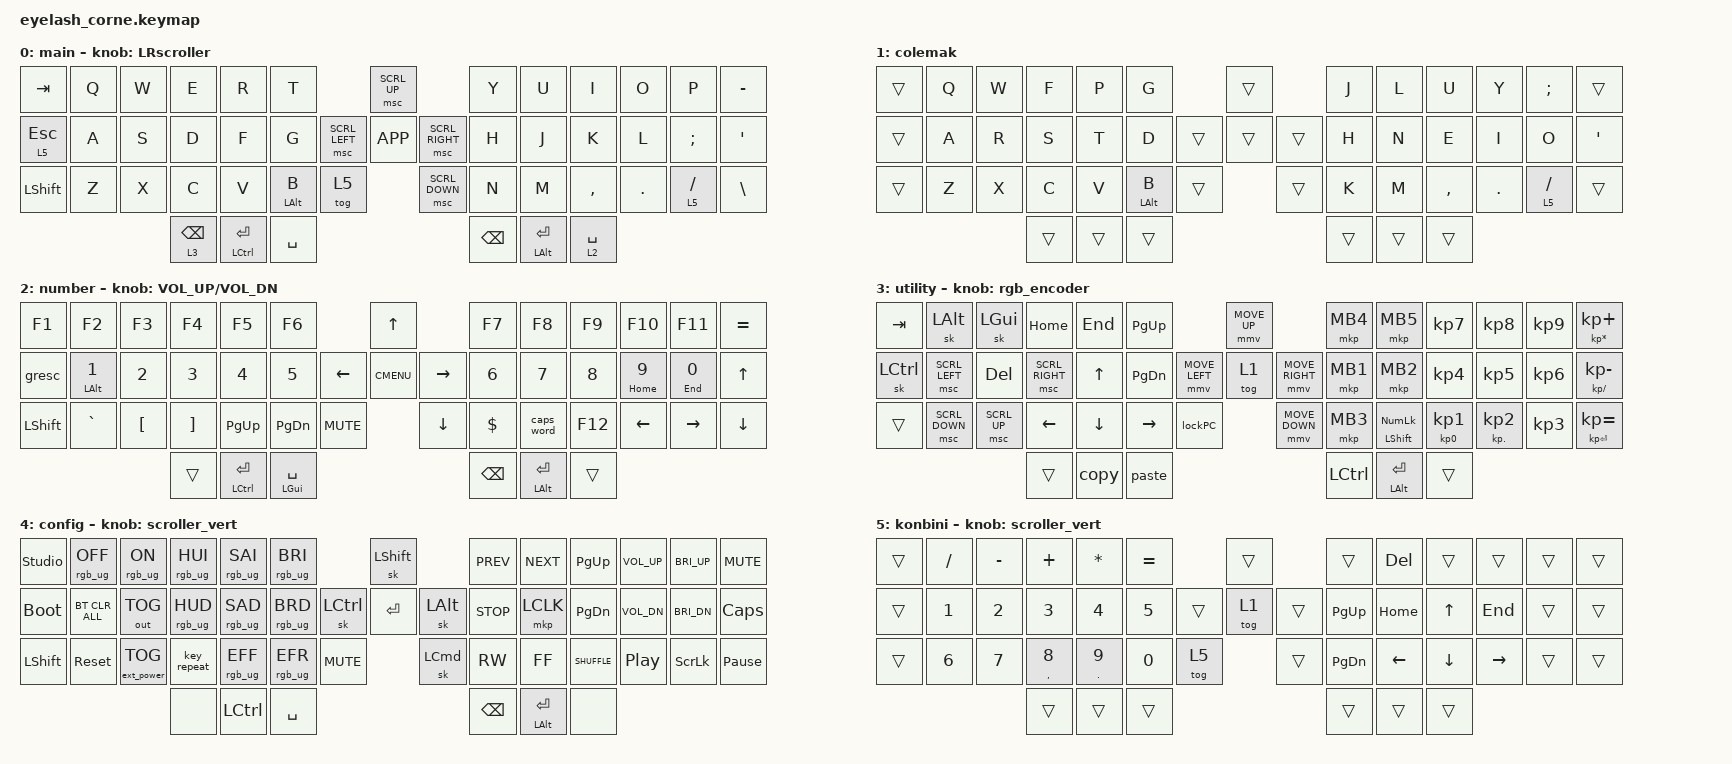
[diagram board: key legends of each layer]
#define ZMK_POINTING_DEFAULT_MOVE_VAL 600  // default: 600
#define ZMK_POINTING_DEFAULT_SCRL_VAL 20  // higher = shorter delay before the first scroll tick fires (see &msc below)

#include <input/processors.dtsi>
#include <zephyr/dt-bindings/input/input-event-codes.h>
#include <behaviors.dtsi>
#include <dt-bindings/zmk/bt.h>
#include <dt-bindings/zmk/ext_power.h>
#include <dt-bindings/zmk/keys.h>
#include <dt-bindings/zmk/outputs.h>
#include <dt-bindings/zmk/pointing.h>
#include <dt-bindings/zmk/rgb.h>

// Per-layer underglow colors: edit config/layer_rgb.dtsi (or generate it
// with rgb-emulator/index.html).

#include "layer_rgb.dtsi"

// Layer indices. Keep these in the same order as the layers in the keymap
// node below (and as the layer numbers in config/layer_rgb.dtsi).

#define MAIN    0
#define COLEMAK 1
#define NUM     2
#define UTIL    3
#define CONFIG  4
#define KONBINI 5

&mmv_input_listener { input-processors = <&zip_xy_scaler 2 1>; };

// split (not the combined zip_scroll_scaler) so horizontal speed is tunable
// independent of vertical. This is the speed dial for scroller/scroller_vert:
// each detent fires ~4 stacked &msc reports (tap-ms=45 vs trigger-period-ms=10,
// see scroller below), so net distance per tick is roughly
// (MOVE_X magnitude * reports-that-survived) / div -- tune div here to change
// feel, not tap-ms/trigger-period-ms/MOVE_X, or dropped ticks come back.
// Higher div = shorter distance per tick.

&msc_input_listener {
    input-processors = <&zip_hscroll_scaler 1 4>, <&zip_vscroll_scaler 1 1>;
};

&msc {
    acceleration-exponent = <0>;      // 0 = constant speed, no ramp-up lag
    time-to-max-speed-ms = <0>;       // unused while acceleration-exponent is 0
    delay-ms = <0>;                   // 0
    trigger-period-ms = <10>;         // default: 16 -- 4x tick rate to slow scroll reports
    // first report only fires once SCRL_VAL's per-tick remainder accumulates past 1 (~1000/SCRL_VAL ms)
};

&mmv {
    time-to-max-speed-ms = <700>;
    acceleration-exponent = <1>;
    trigger-period-ms = <16>;
};

&soft_off { hold-time-ms = <2000>; };

/ {
    zip_hscroll_scaler: zip_hscroll_scaler {
        compatible = "zmk,input-processor-scaler";
        #input-processor-cells = <2>;
        type = <INPUT_EV_REL>;
        codes = <INPUT_REL_HWHEEL>;
        track-remainders;
    };

    zip_vscroll_scaler: zip_vscroll_scaler {
        compatible = "zmk,input-processor-scaler";
        #input-processor-cells = <2>;
        type = <INPUT_EV_REL>;
        codes = <INPUT_REL_WHEEL>;
        track-remainders;
    };

    behaviors {
        /omit-if-no-ref/

        // generic reusable sensor-rotate behaviors, modeled on inc_dec_kp below:
        // the underlying behavior + keycode/param are supplied per sensor-bindings
        // call site instead of being baked into a dedicated node per layer.

        inc_dec_msc: inc_dec_msc {
            compatible = "zmk,behavior-sensor-rotate-var";
            #sensor-binding-cells = <2>;
            bindings = <&msc>, <&msc>;

            // must exceed &msc's trigger-period-ms (10) or the release cancels
            // the pending scroll tick before it ever fires -- see &msc above

            tap-ms = <150>;
        };

        // horizontal scroll for the MAIN layer's encoder: clockwise = right,
        // counter-clockwise = left. Each detent is a synthetic tap of &msc
        // (press, wait tap-ms, release); &msc only reports movement on its own
        // trigger-period-ms timer (10ms), and the release races that timer via
        // k_work_cancel_delayable on the SAME shared system workqueue that also
        // runs BLE, the OLED SPI flush, and RGB underglow writes. tap-ms=20 only
        // fit ~2 ticks in that window -- enough on an idle queue, but any
        // contention from those other work items could delay the first tick past
        // the release and silently drop the whole detent (intermittent misses).
        // tap-ms=45 gives ~4-5 ticks of slack so a single tick surviving jitter
        // is no longer a coin flip. Magnitude (200) already clears the
        // 1000/trigger-period-ms=100 threshold needed for a single tick to
        // register a whole HID unit -- 200 mirrors the value caksoylar/zmk-config
        // uses for the same reason (SCRL_VAL=200 against an 8ms trigger-period).

        LRscroller: scroll_encoder {
            compatible = "zmk,behavior-sensor-rotate";
            #sensor-binding-cells = <0>;
            bindings = <&msc MOVE_X(100)>, <&msc MOVE_X(-100)>;

            tap-ms = <45>;
        };

        // vertical counterpart of scroller above, for the CONFIG layer's encoder:
        // clockwise = up, counter-clockwise = down (positive Y mirrors SCRL_UP's
        // sign in dt-bindings/zmk/pointing.h, same as scroller mirrors SCRL_RIGHT)

        scroller_vert: scroll_encoder_vert {
            compatible = "zmk,behavior-sensor-rotate";
            #sensor-binding-cells = <0>;
            bindings = <&msc MOVE_Y(200)>, <&msc MOVE_Y(-200)>;

            tap-ms = <45>;
        };

        // rgb_ug takes a (command, value) pair per invocation, so unlike &kp/&msc
        // it can't be driven through the -var pattern above (which only overrides
        // a single cell per direction) -- hardcode the full 2-cell binding instead.

        rgb_encoder: rgb_encoder {
            compatible = "zmk,behavior-sensor-rotate";
            #sensor-binding-cells = <0>;
            bindings = <&rgb_ug RGB_BRI>, <&rgb_ug RGB_BRD>;
        };
    };

    combos {
        compatible = "zmk,combos";

        softoff {
            bindings = <&soft_off>;
            key-positions = <1 15 29>;
        };

        gotolayer4 {
            bindings = <&tog 5>;
            key-positions = <42 43>;
        };
    };

    macros {
        lockPC: lockPC {
            compatible = "zmk,behavior-macro";
            #binding-cells = <0>;
            bindings = <&kp LG(L)>;
            label = "LOCKPC";
        };

        copy: copy {
            compatible = "zmk,behavior-macro";
            #binding-cells = <0>;
            bindings = <&kp LC(C)>;
            label = "COPY";
        };

        paste: paste {
            compatible = "zmk,behavior-macro";
            #binding-cells = <0>;
            bindings = <&kp LC(V)>;
            label = "PASTE";
        };
    };

    keymap {
        compatible = "zmk,keymap";

        default_layer {
            display-name = "main";
            bindings = <
&kp TAB         &kp Q  &kp W  &kp E            &kp R            &kp T                                     &msc SCRL_UP                     &kp Y          &kp U           &kp I        &kp O    &kp P        &kp MINUS
&lt 5 ESC       &kp A  &kp S  &kp D            &kp F            &kp G                     &msc SCRL_LEFT  &kp K_APP       &msc SCRL_RIGHT  &kp H          &kp J           &kp K        &kp L    &kp SEMI     &kp SQT
&kp LEFT_SHIFT  &kp Z  &kp X  &kp C            &kp V            &mt LEFT_ALT B  &tog 5                    &msc SCRL_DOWN                   &kp N          &kp M           &kp COMMA    &kp DOT  &lt 5 SLASH  &kp BSLH
                              &lt 3 BACKSPACE  &mt LCTRL ENTER  &kp SPACE                                                                  &kp BACKSPACE  &mt LALT ENTER  &lt 2 SPACE
            >;

            sensor-bindings = <&LRscroller>;
        };

        // Colemak, overlaid on the QWERTY main layer. Toggle it on/off with
        // the 5-way press on the utility layer. It sits right above main so
        // the number/utility/config layers still win over it; only the letter
        // and punctuation keys are set, everything else falls through to main.

        colemak {
            display-name = "colemak";
            bindings = <
&trans  &kp Q  &kp W  &kp F   &kp P   &kp G                             &trans          &kp J   &kp L   &kp U      &kp Y    &kp SEMI    &trans
&trans  &kp A  &kp R  &kp S   &kp T   &kp D                     &trans  &trans  &trans  &kp H   &kp N   &kp E      &kp I    &kp O       &kp SQT
&trans  &kp Z  &kp X  &kp C   &kp V   &mt LEFT_ALT B  &trans            &trans          &kp K   &kp M   &kp COMMA  &kp DOT  &lt 5 FSLH  &trans
                      &trans  &trans  &trans                                            &trans  &trans  &trans
            >;
        };

        Rhold {
            display-name = "number";
            bindings = <
&kp F1          &kp F2             &kp F3            &kp F4             &kp F5           &kp F6                                  &kp UP                  &kp F7         &kp F8              &kp F9   &kp F10      &kp F11     &kp EQUAL
&gresc          &mt LALT NUMBER_1  &kp N2            &kp N3             &kp N4           &kp N5                        &kp LEFT  &kp K_CMENU  &kp RIGHT  &kp N6         &kp N7              &kp N8   &mt HOME N9  &mt END N0  &kp UP_ARROW
&kp LEFT_SHIFT  &kp GRAVE          &kp LEFT_BRACKET  &kp RIGHT_BRACKET  &kp PG_UP        &kp PG_DN       &kp C_MUTE              &kp DOWN                &kp DOLLAR     &caps_word          &kp F12  &kp LEFT     &kp RIGHT   &kp DOWN
                                                     &trans             &mt LCTRL ENTER  &mt LGUI SPACE                                                  &kp BACKSPACE  &mt LEFT_ALT ENTER  &trans
            >;

            sensor-bindings = <&inc_dec_kp C_VOL_UP C_VOL_DN>;
        };

        Lhold {
            display-name = "utility";
            bindings = <
&kp TAB    &sk LALT        &sk LGUI      &kp HOME         &kp END   &kp PG_UP                             &mmv MOVE_UP                     &mkp MB4   &mkp MB5               &kp KP_NUMBER_7  &kp KP_N8         &kp KP_N9  &mt KP_ASTERISK KP_PLUS
&sk LCTRL  &msc SCRL_LEFT  &kp DEL       &msc SCRL_RIGHT  &kp UP    &kp PG_DN             &mmv MOVE_LEFT  &tog 1          &mmv MOVE_RIGHT  &mkp MB1   &mkp MB2               &kp KP_N4        &kp KP_N5         &kp KP_N6  &mt KP_DIVIDE KP_MINUS
&trans     &msc SCRL_DOWN  &msc SCRL_UP  &kp LEFT         &kp DOWN  &kp RIGHT  &lockPC                    &mmv MOVE_DOWN                   &mkp MB3   &mt LSHIFT KP_NUMLOCK  &mt KP_N0 KP_N1  &mt KP_DOT KP_N2  &kp KP_N3  &mt KP_ENTER KP_EQUAL
                                         &trans           &copy     &paste                                                                 &kp LCTRL  &mt LEFT_ALT ENTER     &trans
            >;

            sensor-bindings = <&rgb_encoder>;
        };

        LRhold {
            display-name = "config";
            bindings = <
&studio_unlock  &rgb_ug RGB_OFF  &rgb_ug RGB_ON     &rgb_ug RGB_HUI  &rgb_ug RGB_SAI  &rgb_ug RGB_BRI                           &sk LSHIFT                &kp C_PREV     &kp C_NEXT      &kp PG_UP      &kp C_VOL_UP  &kp C_BRI_UP    &kp C_MUTE
&bootloader     &bt BT_CLR_ALL   &out OUT_TOG       &rgb_ug RGB_HUD  &rgb_ug RGB_SAD  &rgb_ug RGB_BRD                &sk LCTRL  &kp ENTER   &sk LEFT_ALT  &kp C_STOP     &mkp LCLK       &kp PG_DN      &kp C_VOL_DN  &kp C_BRI_DN    &kp CLCK
&kp LSHFT       &sys_reset       &ext_power EP_TOG  &key_repeat      &rgb_ug RGB_EFF  &rgb_ug RGB_EFR  &kp C_MUTE               &sk LCMD                  &kp C_RW       &kp C_FF        &kp C_SHUFFLE  &kp C_PP      &kp SCROLLLOCK  &kp PAUSE_BREAK
                                                    &none            &kp LCTRL        &kp SPACE                                                           &kp BACKSPACE  &mt LALT ENTER  &none
            >;

            sensor-bindings = <&scroller_vert>;
        };

        weird_stuff {
            display-name = "konbini";
            bindings = <
&trans  &kp SLASH  &kp MINUS  &kp PLUS      &kp ASTERISK  &kp EQUAL                    &trans          &trans     &kp DEL   &trans        &trans     &trans  &trans
&trans  &kp N1     &kp N2     &kp N3        &kp N4        &kp N5               &trans  &tog 1  &trans  &kp PG_UP  &kp HOME  &kp UP_ARROW  &kp END    &trans  &trans
&trans  &kp N6     &kp N7     &mt COMMA N8  &mt DOT N9    &kp N0     &tog 5            &trans          &kp PG_DN  &kp LEFT  &kp DOWN      &kp RIGHT  &trans  &trans
                              &trans        &trans        &trans                                       &trans     &trans    &trans
            >;

            sensor-bindings = <&scroller_vert>;
        };
    };

    conditional_layers {
        compatible = "zmk,conditional-layers";

        config {
            if-layers = <2 3>;
            then-layer = <4>;
        };
    };
};
